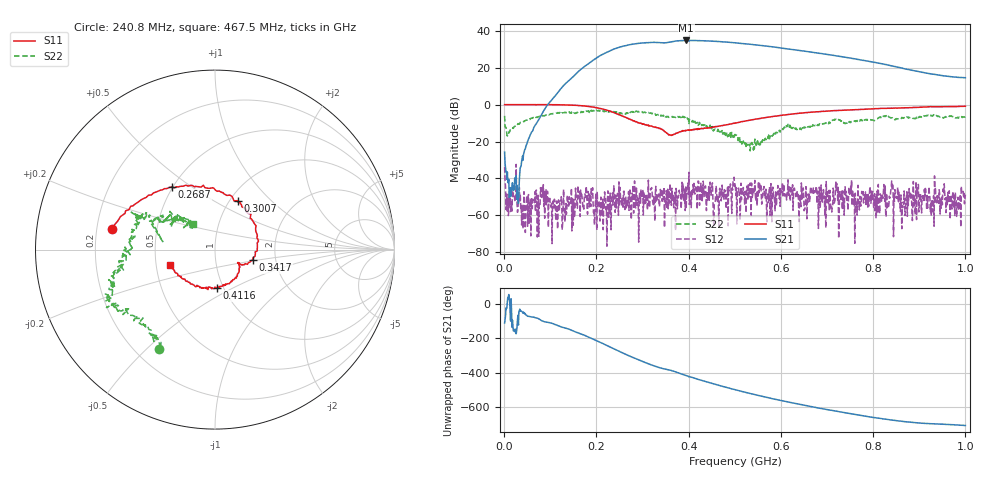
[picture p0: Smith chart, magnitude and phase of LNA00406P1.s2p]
! Created with skrf 1.9.0 (http://scikit-rf.org).
# Hz S RI R 50.0
!freq ReS11 ImS11 ReS21 ImS21 ReS12 ImS12 ReS22 ImS22
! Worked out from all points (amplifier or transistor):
!   1001 points, 1 MHz to 1 GHz, reference 50 ohm
!   highest |S21| = 34.8 dB at 394.6 MHz (marker M1)
!   |S21| within 3 dB of that: 260.1 MHz to 566 MHz (306 MHz wide, 74.1 % of centre)
!   unconditionally stable (mu >= 1): 202.2 MHz to 282.7 MHz; 282.7 MHz to 312.5 MHz; 312.9 MHz to end of sweep (the widest 3 of 44)
!   at 166.8 MHz: K = 0.97, MSG = 34.6 dB, |S12| = -49.9 dB
!   at 500.5 MHz: K = 1.45, MAG = 34.0 dB, |S12| = -42.4 dB
!   at 1 GHz: K = 3.97, MAG = 22.8 dB, |S12| = -48.8 dB
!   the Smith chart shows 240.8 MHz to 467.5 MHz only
!   S11 on the Smith chart (normalised r, x): 240.8 MHz: 0.26, +0.09; 268.7 MHz: 0.49, +0.42; 300.7 MHz: 1.09, +0.65; 341.7 MHz: 1.52, -0.18; 411.6 MHz: 0.93, -0.42; 467.5 MHz: 0.59, -0.11
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1000000  0.9983 0.00723  -0.0182 -0.0482  -0.0163 0.0119  0.2962 0.3983
1.08892e8  0.5278 -0.8456  -0.7612 -1.444  0.000502 -0.00268  0.4394 -0.3707
1.67833e8  -0.2217 -0.9069  -9.394 -0.7259  -0.0004 -0.00394  0.0468 -0.6411
2.08792e8  -0.666 -0.4169  -15.43 15.09  -0.00108 -0.000972  -0.1938 -0.651
2.4076e8  -0.576 0.1145  -2.787 33.06  0.000188 -0.00118  -0.3146 -0.5516
2.68732e8  -0.2395 0.3495  20.55 35.77  1.98e-05 0.00217  -0.4796 -0.3656
3.007e8  0.128 0.2727  43.08 19.14  0.00276 0.00419  -0.5694 -0.2135
3.18682e8  0.2209 0.1424  48.61 4.796  -0.00479 0.00161  -0.5698 -0.1516
3.34666e8  0.235 -0.00739  47.77 -8.196  -0.000268 0.00372  -0.5166 -0.0679
3.41659e8  0.2109 -0.0566  46.19 -12.69  -0.00236 0.00461  -0.4952 -0.0374
3.7063e8  0.1361 -0.086  43.25 -30.56  -0.00339 0.0025  -0.4318 0.1331
3.94606e8  0.0899 -0.1761  29.53 -46.61  0.00132 0.000713  -0.3958 0.1682
4.11589e8  0.00947 -0.2131  16.88 -52.1  0.00293 0.00672  -0.266 0.1623
4.37563e8  -0.125 -0.1925  -3.444 -53.65  0.00268 0.00184  -0.203 0.1679
4.67533e8  -0.2501 -0.0856  -22.8 -45.98  0.00427 0.00329  -0.1242 0.1439
5.005e8  -0.2973 0.0909  -36.82 -30.56  0.00148 -0.0074  -0.1288 0.0864
5.4046e8  -0.249 0.3038  -41.29 -9.518  0.000956 -0.00444  -0.0583 -0.00496
5.88412e8  -0.0569 0.4845  -34.55 10.54  0.00286 -0.0032  -0.128 -0.0972
6.67333e8  0.3185 0.5382  -13.11 22.8  0.00339 -0.00168  -0.2501 -0.0588
7.53247e8  0.6259 0.3699  3.659 17.67  -0.00411 -0.00813  -0.3386 0.0112
8.34166e8  0.7845 0.1487  8.351 8.246  -0.00111 0.00161  -0.4515 0.0759
1e9  0.8177 -0.3876  5.291 1.008  -0.00264 -0.00248  -0.2166 0.4152
